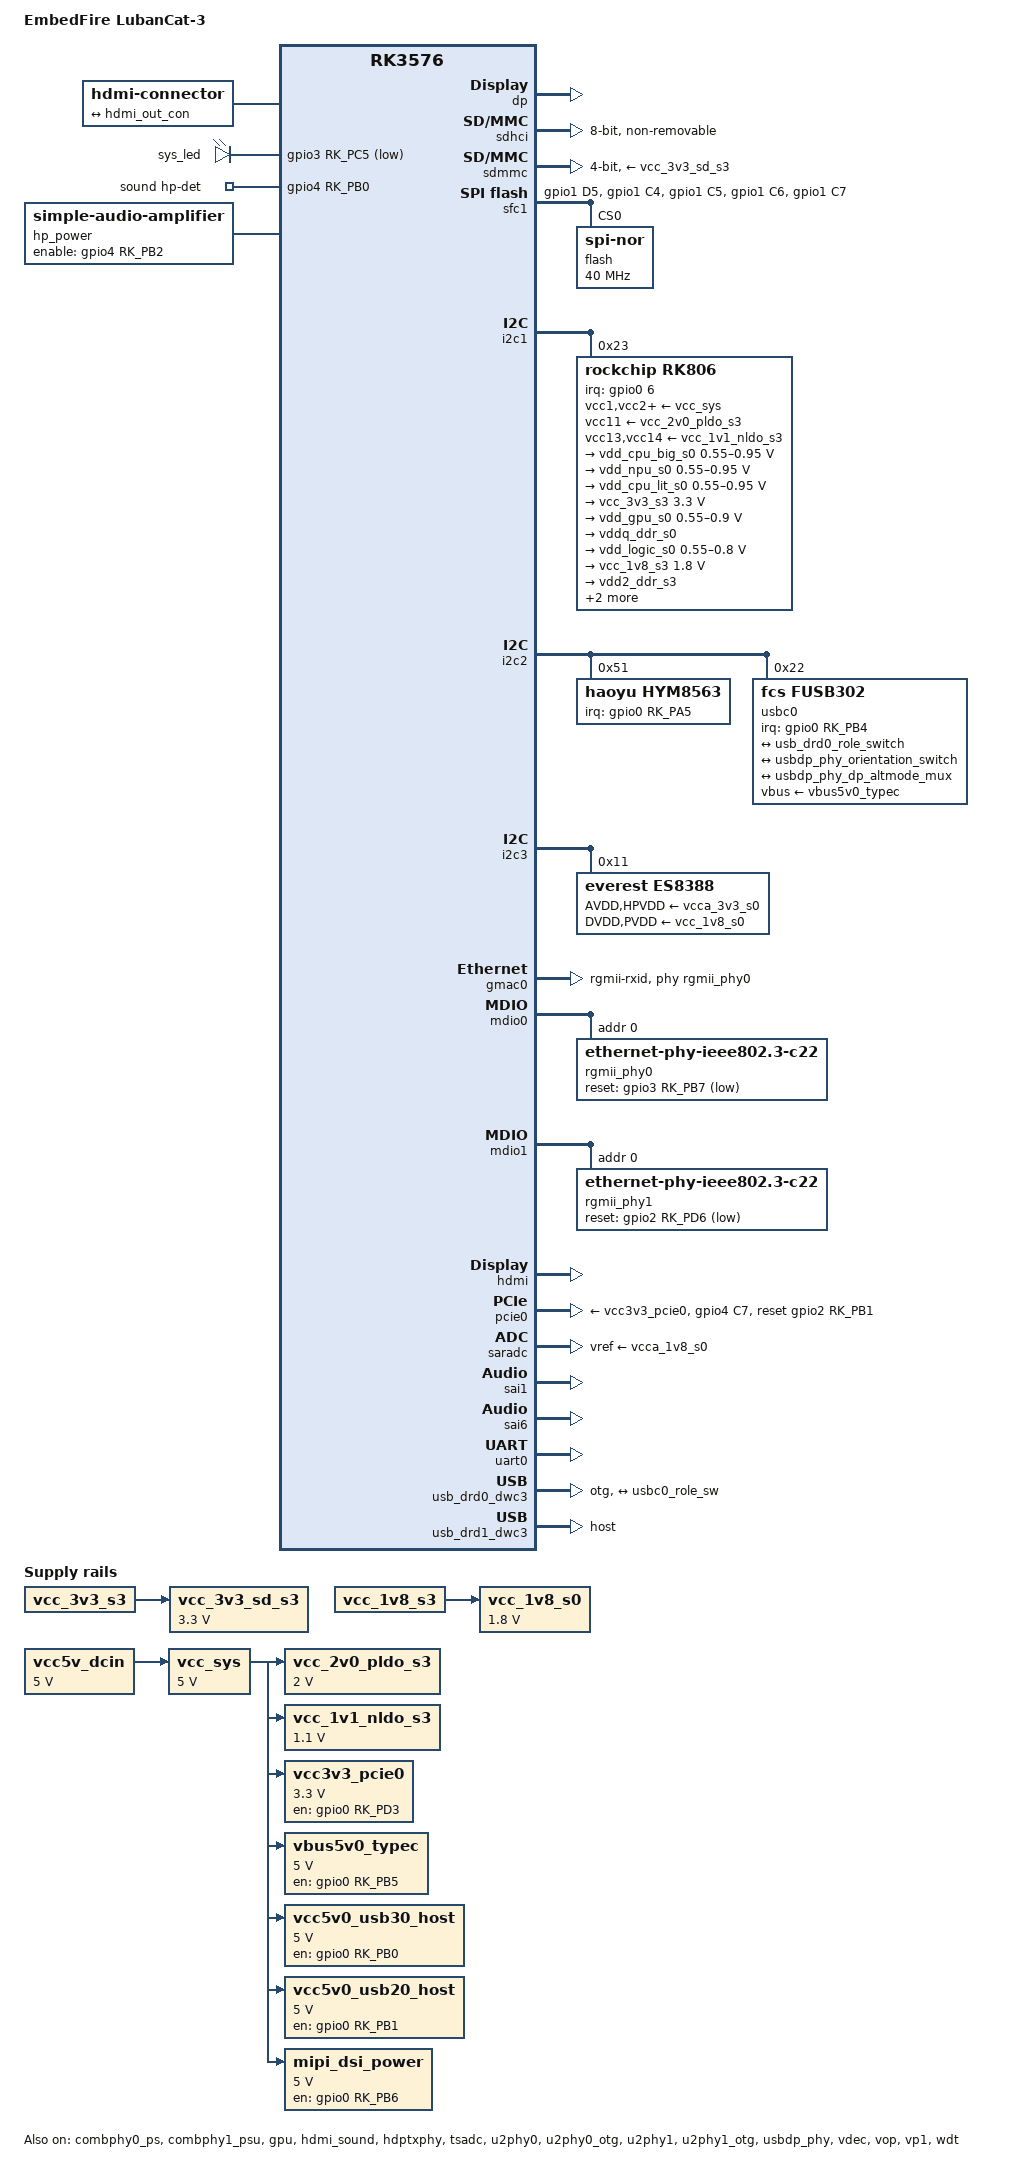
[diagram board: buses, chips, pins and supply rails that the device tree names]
// SPDX-License-Identifier: (GPL-2.0+ OR MIT)
/*
 * Copyright (c) 2024 Rockchip Electronics Co., Ltd.
 * Copyright (c) 2024 EmbedFire <embedfire@embedfire.com>
 */

/dts-v1/;

#include <dt-bindings/gpio/gpio.h>
#include <dt-bindings/input/input.h>
#include <dt-bindings/leds/common.h>
#include <dt-bindings/pinctrl/rockchip.h>
#include <dt-bindings/soc/rockchip,vop2.h>
#include <dt-bindings/usb/pd.h>
#include "rk3576.dtsi"

/ {
	model = "EmbedFire LubanCat-3";
	compatible = "embedfire,lubancat-3", "rockchip,rk3576";

	aliases {
		ethernet0 = &gmac0;
		ethernet1 = &gmac1;
	};

	chosen {
		stdout-path = "serial0:1500000n8";
	};

	/* HDMI connector */
	hdmi-con {
		compatible = "hdmi-connector";
		type = "a";

		port {
			hdmi_con_in: endpoint {
				remote-endpoint = <&hdmi_out_con>;
			};
		};
	};

	/* System status LED */
	leds {
		compatible = "gpio-leds";

		sys_led: led-0 {
			gpios = <&gpio3 RK_PC5 GPIO_ACTIVE_LOW>;
			linux,default-trigger = "heartbeat";
			pinctrl-names = "default";
			pinctrl-0 = <&sys_status_led_pin>;
		};
	};

	/*
	 * ES8388 audio codec sound card.
	 * Headphone detect: GPIO4_PB0 (active high)
	 * Headphone amplifier enable: GPIO4_PB2 (active high)
	 */
	sound {
		compatible = "simple-audio-card";
		pinctrl-names = "default";
		pinctrl-0 = <&hp_det>;
		simple-audio-card,name = "rockchip-es8388";
		simple-audio-card,aux-devs = <&hp_power>;
		simple-audio-card,bitclock-master = <&masterdai>;
		simple-audio-card,format = "i2s";
		simple-audio-card,frame-master = <&masterdai>;
		simple-audio-card,hp-det-gpios = <&gpio4 RK_PB0 GPIO_ACTIVE_HIGH>;
		simple-audio-card,mclk-fs = <256>;
		simple-audio-card,pin-switches = "Headphones", "Main Mic", "Headset Mic";
		simple-audio-card,routing =
			"Headphone Power INL", "LOUT1",
			"Headphone Power INR", "ROUT1",
			"Headphones", "Headphone Power OUTL",
			"Headphones", "Headphone Power OUTR",
			"LINPUT1", "Main Mic",
			"LINPUT2", "Main Mic",
			"RINPUT1", "Headset Mic",
			"RINPUT2", "Headset Mic";
		simple-audio-card,widgets =
			"Microphone", "Main Mic",
			"Microphone", "Headset Mic",
			"Headphone", "Headphones";

		simple-audio-card,cpu {
			sound-dai = <&sai1>;
		};

		masterdai: simple-audio-card,codec {
			sound-dai = <&es8388>;
			system-clock-frequency = <12288000>;
		};
	};

	/* Headphone amplifier */
	hp_power: headphone-amplifier {
		compatible = "simple-audio-amplifier";
		enable-gpios = <&gpio4 RK_PB2 GPIO_ACTIVE_HIGH>;
		pinctrl-names = "default";
		pinctrl-0 = <&hp_ctl>;
		sound-name-prefix = "Headphone Power";
	};

	/*
	 * PWM fan.
	 * Note: PWM controller nodes are not yet available in mainline
	 * rk3576.dtsi. This node will need the pwm2 controller to be added
	 * before it can be enabled.
	 */
	fan: pwm-fan {
		compatible = "pwm-fan";
		#cooling-cells = <2>;
		/* pwms = <&pwm2 6 50000 0>; -- pwm2 not yet in mainline rk3576.dtsi */
		cooling-levels = <0 100 150 200 255>;
		status = "disabled";
	};

	/*
	 * Extend mainline thermal zones with fan cooling maps.
	 * The fan is used as a cooling device for CPU and GPU thermal zones.
	 */
	thermal-zones {
		bigcore-thermal {
			cooling-maps {
				map1 {
					trip = <&bigcore_alert>;
					cooling-device = <&fan THERMAL_NO_LIMIT THERMAL_NO_LIMIT>;
				};
			};
		};

		littlecore-thermal {
			cooling-maps {
				map1 {
					trip = <&littlecore_alert>;
					cooling-device = <&fan THERMAL_NO_LIMIT THERMAL_NO_LIMIT>;
				};
			};
		};

		gpu-thermal {
			cooling-maps {
				map1 {
					trip = <&gpu_alert>;
					cooling-device = <&fan THERMAL_NO_LIMIT THERMAL_NO_LIMIT>;
				};
			};
		};
	};

	/* Fixed regulators */
	vcc5v_dcin: regulator-vcc5v-dcin {
		compatible = "regulator-fixed";
		regulator-name = "vcc5v_dcin";
		regulator-always-on;
		regulator-boot-on;
		regulator-min-microvolt = <5000000>;
		regulator-max-microvolt = <5000000>;
	};

	vcc_sys: regulator-vcc5v0-sys {
		compatible = "regulator-fixed";
		regulator-name = "vcc_sys";
		regulator-always-on;
		regulator-boot-on;
		regulator-min-microvolt = <5000000>;
		regulator-max-microvolt = <5000000>;
		vin-supply = <&vcc5v_dcin>;
	};

	vcc_2v0_pldo_s3: regulator-vcc-2v0-pldo-s3 {
		compatible = "regulator-fixed";
		regulator-name = "vcc_2v0_pldo_s3";
		regulator-boot-on;
		regulator-always-on;
		regulator-min-microvolt = <2000000>;
		regulator-max-microvolt = <2000000>;
		vin-supply = <&vcc_sys>;
	};

	vcc_1v1_nldo_s3: regulator-vcc-1v1-nldo-s3 {
		compatible = "regulator-fixed";
		regulator-name = "vcc_1v1_nldo_s3";
		regulator-boot-on;
		regulator-always-on;
		regulator-min-microvolt = <1100000>;
		regulator-max-microvolt = <1100000>;
		vin-supply = <&vcc_sys>;
	};

	vcc_3v3_sd_s3: regulator-vcc-3v3-sd-s3 {
		compatible = "regulator-fixed";
		regulator-name = "vcc_3v3_sd_s3";
		regulator-always-on;
		regulator-boot-on;
		regulator-min-microvolt = <3300000>;
		regulator-max-microvolt = <3300000>;
		vin-supply = <&vcc_3v3_s3>;
	};

	vcc_1v8_s0: regulator-vcc-1v8-s0 {
		compatible = "regulator-fixed";
		regulator-name = "vcc_1v8_s0";
		regulator-boot-on;
		regulator-always-on;
		regulator-min-microvolt = <1800000>;
		regulator-max-microvolt = <1800000>;
		vin-supply = <&vcc_1v8_s3>;
	};

	vcc3v3_pcie0: regulator-vcc3v3-pcie0 {
		compatible = "regulator-fixed";
		regulator-name = "vcc3v3_pcie0";
		regulator-min-microvolt = <3300000>;
		regulator-max-microvolt = <3300000>;
		enable-active-high;
		gpios = <&gpio0 RK_PD3 GPIO_ACTIVE_HIGH>;
		startup-delay-us = <5000>;
		vin-supply = <&vcc_sys>;
	};

	vbus5v0_typec: regulator-vbus5v0-typec {
		compatible = "regulator-fixed";
		regulator-name = "vbus5v0_typec";
		regulator-min-microvolt = <5000000>;
		regulator-max-microvolt = <5000000>;
		enable-active-high;
		gpio = <&gpio0 RK_PB5 GPIO_ACTIVE_HIGH>;
		vin-supply = <&vcc_sys>;
		pinctrl-names = "default";
		pinctrl-0 = <&typec_vbus_en>;
	};

	vcc5v0_usb30_host: regulator-vcc5v0-usb30-host {
		compatible = "regulator-fixed";
		regulator-name = "vcc5v0_usb30_host";
		regulator-min-microvolt = <5000000>;
		regulator-max-microvolt = <5000000>;
		regulator-always-on;
		regulator-boot-on;
		enable-active-high;
		gpio = <&gpio0 RK_PB0 GPIO_ACTIVE_HIGH>;
		vin-supply = <&vcc_sys>;
		pinctrl-names = "default";
		pinctrl-0 = <&usb30_host_pwr_en>;
	};

	vcc5v0_usb20_host: regulator-vcc5v0-usb20-host {
		compatible = "regulator-fixed";
		regulator-name = "vcc5v0_usb20_host";
		regulator-min-microvolt = <5000000>;
		regulator-max-microvolt = <5000000>;
		enable-active-high;
		gpio = <&gpio0 RK_PB1 GPIO_ACTIVE_HIGH>;
		vin-supply = <&vcc_sys>;
		pinctrl-names = "default";
		pinctrl-0 = <&usb20_host_pwr_en>;
	};

	mipi_dsi_power: regulator-mipi-dsi-power {
		compatible = "regulator-fixed";
		regulator-name = "mipi_dsi_power";
		regulator-min-microvolt = <5000000>;
		regulator-max-microvolt = <5000000>;
		regulator-always-on;
		regulator-boot-on;
		enable-active-high;
		gpio = <&gpio0 RK_PB6 GPIO_ACTIVE_HIGH>;
		vin-supply = <&vcc_sys>;
		pinctrl-names = "default";
		pinctrl-0 = <&lcd_pwr_en>;
	};
};

/* Cortex-A53 (little) CPU supply */
&cpu_l0 {
	cpu-supply = <&vdd_cpu_lit_s0>;
};

/* Cortex-A72 (big) CPU supply */
&cpu_b0 {
	cpu-supply = <&vdd_cpu_big_s0>;
};

/* PCIe0/SATA0 combo PHY */
&combphy0_ps {
	status = "okay";
};

/* PCIe1/SATA1/USB3_OTG1 combo PHY */
&combphy1_psu {
	status = "okay";
};

/*
 * DisplayPort over USB Type-C.
 * DP is routed from VP1.
 */
&dp {
	status = "okay";
};

&dp0_in {
	dp0_in_vp1: endpoint {
		remote-endpoint = <&vp1_out_dp0>;
	};
};

/*
 * BSP-only: dp0_sound uses custom "rockchip,hdmi" compatible which is not
 * available in mainline. DP audio is not yet supported.
 *
 * &spdif_tx3 { status = "okay"; };
 */

/* eMMC (SDHCI) */
&sdhci {
	bus-width = <8>;
	full-pwr-cycle-in-suspend;
	max-frequency = <200000000>;
	mmc-hs400-1_8v;
	mmc-hs400-enhanced-strobe;
	no-sdio;
	no-sd;
	non-removable;
	status = "okay";
};

/* SD card (SDMMC) */
&sdmmc {
	bus-width = <4>;
	cap-mmc-highspeed;
	cap-sd-highspeed;
	disable-wp;
	max-frequency = <200000000>;
	no-sdio;
	no-mmc;
	pinctrl-names = "default";
	pinctrl-0 = <&sdmmc0_clk &sdmmc0_cmd &sdmmc0_det &sdmmc0_bus4>;
	sd-uhs-sdr104;
	vmmc-supply = <&vcc_3v3_sd_s3>;
	vqmmc-supply = <&vccio_sd_s0>;
	status = "okay";
};

/* SPI NOR flash on FSPI1 */
&sfc1 {
	status = "okay";
	pinctrl-names = "default";
	pinctrl-0 = <&fspi1m1_correct_pins &fspi1m1_csn0>;

	flash@0 {
		compatible = "jedec,spi-nor";
		reg = <0>;
		spi-max-frequency = <40000000>;
		spi-rx-bus-width = <4>;
		spi-tx-bus-width = <1>;
	};
};

/*
 * I2C1: RK806 PMIC
 */
&i2c1 {
	status = "okay";

	rk806: pmic@23 {
		compatible = "rockchip,rk806";
		reg = <0x23>;
		interrupt-parent = <&gpio0>;
		interrupts = <6 IRQ_TYPE_LEVEL_LOW>;
		gpio-controller;
		#gpio-cells = <2>;
		pinctrl-names = "default";
		pinctrl-0 = <&pmic_pins>, <&rk806_dvs1_null>,
			    <&rk806_dvs2_null>, <&rk806_dvs3_null>;
		system-power-controller;

		vcc1-supply = <&vcc_sys>;
		vcc2-supply = <&vcc_sys>;
		vcc3-supply = <&vcc_sys>;
		vcc4-supply = <&vcc_sys>;
		vcc5-supply = <&vcc_sys>;
		vcc6-supply = <&vcc_sys>;
		vcc7-supply = <&vcc_sys>;
		vcc8-supply = <&vcc_sys>;
		vcc9-supply = <&vcc_sys>;
		vcc10-supply = <&vcc_sys>;
		vcc11-supply = <&vcc_2v0_pldo_s3>;
		vcc12-supply = <&vcc_sys>;
		vcc13-supply = <&vcc_1v1_nldo_s3>;
		vcc14-supply = <&vcc_1v1_nldo_s3>;
		vcca-supply = <&vcc_sys>;

		rk806_dvs1_null: dvs1-null-pins {
			pins = "gpio_pwrctrl1";
			function = "pin_fun0";
		};

		rk806_dvs2_null: dvs2-null-pins {
			pins = "gpio_pwrctrl2";
			function = "pin_fun0";
		};

		rk806_dvs3_null: dvs3-null-pins {
			pins = "gpio_pwrctrl3";
			function = "pin_fun0";
		};

		rk806_dvs1_slp: dvs1-slp-pins {
			pins = "gpio_pwrctrl1";
			function = "pin_fun1";
		};

		rk806_dvs1_pwrdn: dvs1-pwrdn-pins {
			pins = "gpio_pwrctrl1";
			function = "pin_fun2";
		};

		rk806_dvs1_rst: dvs1-rst-pins {
			pins = "gpio_pwrctrl1";
			function = "pin_fun3";
		};

		rk806_dvs2_slp: dvs2-slp-pins {
			pins = "gpio_pwrctrl2";
			function = "pin_fun1";
		};

		rk806_dvs2_pwrdn: dvs2-pwrdn-pins {
			pins = "gpio_pwrctrl2";
			function = "pin_fun2";
		};

		rk806_dvs2_rst: dvs2-rst-pins {
			pins = "gpio_pwrctrl2";
			function = "pin_fun3";
		};

		rk806_dvs2_dvs: dvs2-dvs-pins {
			pins = "gpio_pwrctrl2";
			function = "pin_fun4";
		};

		rk806_dvs2_gpio: dvs2-gpio-pins {
			pins = "gpio_pwrctrl2";
			function = "pin_fun5";
		};

		rk806_dvs3_slp: dvs3-slp-pins {
			pins = "gpio_pwrctrl3";
			function = "pin_fun1";
		};

		rk806_dvs3_pwrdn: dvs3-pwrdn-pins {
			pins = "gpio_pwrctrl3";
			function = "pin_fun2";
		};

		rk806_dvs3_rst: dvs3-rst-pins {
			pins = "gpio_pwrctrl3";
			function = "pin_fun3";
		};

		rk806_dvs3_dvs: dvs3-dvs-pins {
			pins = "gpio_pwrctrl3";
			function = "pin_fun4";
		};

		rk806_dvs3_gpio: dvs3-gpio-pins {
			pins = "gpio_pwrctrl3";
			function = "pin_fun5";
		};

		regulators {
			vdd_cpu_big_s0: dcdc-reg1 {
				regulator-always-on;
				regulator-boot-on;
				regulator-min-microvolt = <550000>;
				regulator-max-microvolt = <950000>;
				regulator-ramp-delay = <12500>;
				regulator-name = "vdd_cpu_big_s0";
				regulator-enable-ramp-delay = <400>;

				regulator-state-mem {
					regulator-off-in-suspend;
				};
			};

			vdd_npu_s0: dcdc-reg2 {
				regulator-boot-on;
				regulator-min-microvolt = <550000>;
				regulator-max-microvolt = <950000>;
				regulator-ramp-delay = <12500>;
				regulator-name = "vdd_npu_s0";
				regulator-enable-ramp-delay = <400>;

				regulator-state-mem {
					regulator-off-in-suspend;
				};
			};

			vdd_cpu_lit_s0: dcdc-reg3 {
				regulator-always-on;
				regulator-boot-on;
				regulator-min-microvolt = <550000>;
				regulator-max-microvolt = <950000>;
				regulator-ramp-delay = <12500>;
				regulator-name = "vdd_cpu_lit_s0";

				regulator-state-mem {
					regulator-off-in-suspend;
					regulator-suspend-microvolt = <750000>;
				};
			};

			vcc_3v3_s3: dcdc-reg4 {
				regulator-always-on;
				regulator-boot-on;
				regulator-min-microvolt = <3300000>;
				regulator-max-microvolt = <3300000>;
				regulator-name = "vcc_3v3_s3";

				regulator-state-mem {
					regulator-on-in-suspend;
					regulator-suspend-microvolt = <3300000>;
				};
			};

			vdd_gpu_s0: dcdc-reg5 {
				regulator-boot-on;
				regulator-min-microvolt = <550000>;
				regulator-max-microvolt = <900000>;
				regulator-ramp-delay = <12500>;
				regulator-name = "vdd_gpu_s0";
				regulator-enable-ramp-delay = <400>;

				regulator-state-mem {
					regulator-off-in-suspend;
					regulator-suspend-microvolt = <850000>;
				};
			};

			vddq_ddr_s0: dcdc-reg6 {
				regulator-always-on;
				regulator-boot-on;
				regulator-name = "vddq_ddr_s0";

				regulator-state-mem {
					regulator-off-in-suspend;
				};
			};

			vdd_logic_s0: dcdc-reg7 {
				regulator-always-on;
				regulator-boot-on;
				regulator-min-microvolt = <550000>;
				regulator-max-microvolt = <800000>;
				regulator-name = "vdd_logic_s0";

				regulator-state-mem {
					regulator-off-in-suspend;
				};
			};

			vcc_1v8_s3: dcdc-reg8 {
				regulator-always-on;
				regulator-boot-on;
				regulator-min-microvolt = <1800000>;
				regulator-max-microvolt = <1800000>;
				regulator-name = "vcc_1v8_s3";

				regulator-state-mem {
					regulator-on-in-suspend;
					regulator-suspend-microvolt = <1800000>;
				};
			};

			vdd2_ddr_s3: dcdc-reg9 {
				regulator-always-on;
				regulator-boot-on;
				regulator-name = "vdd2_ddr_s3";

				regulator-state-mem {
					regulator-on-in-suspend;
				};
			};

			vdd_ddr_s0: dcdc-reg10 {
				regulator-always-on;
				regulator-boot-on;
				regulator-min-microvolt = <550000>;
				regulator-max-microvolt = <1200000>;
				regulator-name = "vdd_ddr_s0";

				regulator-state-mem {
					regulator-off-in-suspend;
				};
			};

			vcca_1v8_s0: pldo-reg1 {
				regulator-always-on;
				regulator-boot-on;
				regulator-min-microvolt = <1800000>;
				regulator-max-microvolt = <1800000>;
				regulator-name = "vcca_1v8_s0";

				regulator-state-mem {
					regulator-off-in-suspend;
				};
			};

			vcca1v8_pldo2_s0: pldo-reg2 {
				regulator-always-on;
				regulator-boot-on;
				regulator-min-microvolt = <1800000>;
				regulator-max-microvolt = <1800000>;
				regulator-name = "vcca1v8_pldo2_s0";

				regulator-state-mem {
					regulator-off-in-suspend;
				};
			};

			vdda_1v2_s0: pldo-reg3 {
				regulator-always-on;
				regulator-boot-on;
				regulator-min-microvolt = <1200000>;
				regulator-max-microvolt = <1200000>;
				regulator-name = "vdda_1v2_s0";

				regulator-state-mem {
					regulator-off-in-suspend;
				};
			};

			vcca_3v3_s0: pldo-reg4 {
				regulator-always-on;
				regulator-boot-on;
				regulator-min-microvolt = <3300000>;
				regulator-max-microvolt = <3300000>;
				regulator-name = "vcca_3v3_s0";

				regulator-state-mem {
					regulator-off-in-suspend;
				};
			};

			vccio_sd_s0: pldo-reg5 {
				regulator-always-on;
				regulator-boot-on;
				regulator-min-microvolt = <1800000>;
				regulator-max-microvolt = <3300000>;
				regulator-name = "vccio_sd_s0";

				regulator-state-mem {
					regulator-off-in-suspend;
				};
			};

			vcca1v8_pldo6_s3: pldo-reg6 {
				regulator-always-on;
				regulator-boot-on;
				regulator-min-microvolt = <1800000>;
				regulator-max-microvolt = <1800000>;
				regulator-name = "vcca1v8_pldo6_s3";

				regulator-state-mem {
					regulator-on-in-suspend;
					regulator-suspend-microvolt = <1800000>;
				};
			};

			vdd_0v75_s3: nldo-reg1 {
				regulator-always-on;
				regulator-boot-on;
				regulator-min-microvolt = <550000>;
				regulator-max-microvolt = <750000>;
				regulator-name = "vdd_0v75_s3";

				regulator-state-mem {
					regulator-on-in-suspend;
					regulator-suspend-microvolt = <750000>;
				};
			};

			vdda_ddr_pll_s0: nldo-reg2 {
				regulator-always-on;
				regulator-boot-on;
				regulator-min-microvolt = <850000>;
				regulator-max-microvolt = <850000>;
				regulator-name = "vdda_ddr_pll_s0";

				regulator-state-mem {
					regulator-off-in-suspend;
				};
			};

			vdda0v75_hdmi_s0: nldo-reg3 {
				regulator-boot-on;
				regulator-min-microvolt = <837500>;
				regulator-max-microvolt = <837500>;
				regulator-name = "vdda0v75_hdmi_s0";

				regulator-state-mem {
					regulator-off-in-suspend;
				};
			};

			vdda_0v85_s0: nldo-reg4 {
				regulator-always-on;
				regulator-boot-on;
				regulator-min-microvolt = <850000>;
				regulator-max-microvolt = <850000>;
				regulator-name = "vdda_0v85_s0";

				regulator-state-mem {
					regulator-off-in-suspend;
				};
			};

			vdda_0v75_s0: nldo-reg5 {
				regulator-always-on;
				regulator-boot-on;
				regulator-min-microvolt = <750000>;
				regulator-max-microvolt = <750000>;
				regulator-name = "vdda_0v75_s0";

				regulator-state-mem {
					regulator-off-in-suspend;
				};
			};
		};
	};
};

/*
 * I2C2: RTC and USB Type-C controller
 */
&i2c2 {
	status = "okay";

	/* BM8563 RTC (using rtc-hym8563 driver) */
	hym8563: rtc@51 {
		compatible = "haoyu,hym8563";
		reg = <0x51>;
		#clock-cells = <0>;
		clock-output-names = "hym8563";
		interrupt-parent = <&gpio0>;
		interrupts = <RK_PA5 IRQ_TYPE_LEVEL_LOW>;
		pinctrl-names = "default";
		pinctrl-0 = <&hym8563_int>;
		wakeup-source;
	};

	/* FUSB302 USB Type-C controller */
	usbc0: typec@22 {
		compatible = "fcs,fusb302";
		reg = <0x22>;
		interrupt-parent = <&gpio0>;
		interrupts = <RK_PB4 IRQ_TYPE_LEVEL_LOW>;
		pinctrl-names = "default";
		pinctrl-0 = <&fusb302_int>;
		vbus-supply = <&vbus5v0_typec>;
		status = "okay";

		ports {
			#address-cells = <1>;
			#size-cells = <0>;

			port@0 {
				reg = <0>;
				usbc0_role_sw: endpoint {
					remote-endpoint = <&usb_drd0_role_switch>;
				};
			};
		};

		usb_con: connector {
			compatible = "usb-c-connector";
			label = "USB-C";
			data-role = "dual";
			power-role = "dual";
			try-power-role = "sink";
			op-sink-microwatt = <1000000>;
			sink-pdos =
				<PDO_FIXED(5000, 1000, PDO_FIXED_USB_COMM)>;
			source-pdos =
				<PDO_FIXED(5000, 3000, PDO_FIXED_USB_COMM)>;

			altmodes {
				#address-cells = <1>;
				#size-cells = <0>;

				altmode@0 {
					reg = <0>;
					svid = <0xff01>;
					vdo = <0xffffffff>;
				};
			};

			ports {
				#address-cells = <1>;
				#size-cells = <0>;

				port@0 {
					reg = <0>;
					usbc0_orien_sw: endpoint {
						remote-endpoint = <&usbdp_phy_orientation_switch>;
					};
				};

				port@1 {
					reg = <1>;
					dp_altmode_mux: endpoint {
						remote-endpoint = <&usbdp_phy_dp_altmode_mux>;
					};
				};
			};
		};
	};
};

/*
 * I2C3: ES8388 audio codec
 */
&i2c3 {
	status = "okay";

	es8388: audio-codec@11 {
		compatible = "everest,es8388", "everest,es8328";
		reg = <0x11>;
		AVDD-supply = <&vcca_3v3_s0>;
		DVDD-supply = <&vcc_1v8_s0>;
		HPVDD-supply = <&vcca_3v3_s0>;
		PVDD-supply = <&vcc_1v8_s0>;
		assigned-clocks = <&cru CLK_SAI1_MCLKOUT_TO_IO>;
		assigned-clock-rates = <12288000>;
		clocks = <&cru CLK_SAI1_MCLKOUT_TO_IO>;
		clock-names = "mclk";
		pinctrl-names = "default";
		pinctrl-0 = <&sai1m0_mclk>;
		#sound-dai-cells = <0>;
	};
};

/* Ethernet: GMAC0 (RTL8211F PHY at address 0x0) */
&gmac0 {
	clock_in_out = "output";
	phy-mode = "rgmii-rxid";
	phy-handle = <&rgmii_phy0>;
	pinctrl-names = "default";
	pinctrl-0 = <&eth0m0_miim
		     &eth0m0_tx_bus2
		     &eth0m0_rx_bus2
		     &eth0m0_rgmii_clk
		     &eth0m0_rgmii_bus
		     &eth0m0_mclk>;
	tx_delay = <0x05>;
	rx_delay = <0x05>;
	status = "okay";
};

/* Ethernet: GMAC1 (RTL8211F PHY at address 0x0) - disabled by default */
&gmac1 {
	clock_in_out = "output";
	phy-mode = "rgmii-rxid";
	phy-handle = <&rgmii_phy1>;
	pinctrl-names = "default";
	pinctrl-0 = <&eth1m0_miim
		     &eth1m0_tx_bus2
		     &eth1m0_rx_bus2
		     &eth1m0_rgmii_clk
		     &eth1m0_rgmii_bus
		     &eth1m0_mclk>;
	tx_delay = <0x20>;
	rx_delay = <0x01>;
	status = "disabled";
};

&mdio0 {
	rgmii_phy0: ethernet-phy@0 {
		compatible = "ethernet-phy-ieee802.3-c22";
		reg = <0x0>;
		clocks = <&cru REFCLKO25M_GMAC0_OUT>;
		reset-assert-us = <20000>;
		reset-deassert-us = <100000>;
		reset-gpios = <&gpio3 RK_PB7 GPIO_ACTIVE_LOW>;
	};
};

&mdio1 {
	rgmii_phy1: ethernet-phy@0 {
		compatible = "ethernet-phy-ieee802.3-c22";
		reg = <0x0>;
		clocks = <&cru REFCLKO25M_GMAC1_OUT>;
		reset-assert-us = <20000>;
		reset-deassert-us = <100000>;
		reset-gpios = <&gpio2 RK_PD6 GPIO_ACTIVE_LOW>;
	};
};

/* GPU */
&gpu {
	mali-supply = <&vdd_gpu_s0>;
	status = "okay";
};

/* HDMI */
&hdmi {
	enable-gpios = <&gpio4 RK_PC6 GPIO_ACTIVE_HIGH>;
	status = "okay";
};

&hdmi_in {
	hdmi_in_vp0: endpoint {
		remote-endpoint = <&vp0_out_hdmi>;
	};
};

&hdmi_out {
	hdmi_out_con: endpoint {
		remote-endpoint = <&hdmi_con_in>;
	};
};

/* HDMI audio (defined in rk3576.dtsi as simple-audio-card) */
&hdmi_sound {
	status = "okay";
};

/* HDMI TX PHY */
&hdptxphy {
	status = "okay";
};

/* PCIe0 */
&pcie0 {
	pinctrl-names = "default";
	pinctrl-0 = <&pcie_disable_gpio>;
	reset-gpios = <&gpio2 RK_PB1 GPIO_ACTIVE_HIGH>;
	disable-gpios = <&gpio4 RK_PC7 GPIO_ACTIVE_HIGH>;
	vpcie3v3-supply = <&vcc3v3_pcie0>;
	status = "okay";
};

/* SATA0 - shares combo PHY0 with PCIe0; disabled when PCIe0 is active */
&sata0 {
	status = "disabled";
};

/* SARADC */
&saradc {
	vref-supply = <&vcca_1v8_s0>;
	status = "okay";
};

/* SAI1: I2S for ES8388 audio codec */
&sai1 {
	pinctrl-names = "default";
	pinctrl-0 = <&sai1m0_lrck
		     &sai1m0_sclk
		     &sai1m0_sdi0
		     &sai1m0_sdo2>;
	status = "okay";
};

/* SAI6: I2S for HDMI audio */
&sai6 {
	status = "okay";
};

/* TSADC (thermal sensor) */
&tsadc {
	status = "okay";
};

/* Debug console UART */
&uart0 {
	status = "okay";
};

/* USB2 PHY0 (OTG) */
&u2phy0 {
	status = "okay";
};

&u2phy0_otg {
	phy-supply = <&vbus5v0_typec>;
	status = "okay";
};

/* USB2 PHY1 (host) */
&u2phy1 {
	status = "okay";
};

&u2phy1_otg {
	phy-supply = <&vcc5v0_usb20_host>;
	status = "okay";
};

/* USB3 OTG0 / DP1.4 Alt-Mode via Type-C */
&usbdp_phy {
	orientation-switch;
	status = "okay";

	port {
		#address-cells = <1>;
		#size-cells = <0>;

		usbdp_phy_orientation_switch: endpoint@0 {
			reg = <0>;
			remote-endpoint = <&usbc0_orien_sw>;
		};

		usbdp_phy_dp_altmode_mux: endpoint@1 {
			reg = <1>;
			remote-endpoint = <&dp_altmode_mux>;
		};
	};
};

/* USB3 DRD0 (OTG via Type-C) */
&usb_drd0_dwc3 {
	dr_mode = "otg";
	usb-role-switch;
	status = "okay";
	snps,parkmode-disable-hs-quirk;
	snps,parkmode-disable-ss-quirk;
	snps,dis_u3_susphy_quirk;
	snps,dis_u2_susphy_quirk;

	port {
		usb_drd0_role_switch: endpoint {
			remote-endpoint = <&usbc0_role_sw>;
		};
	};
};

/* USB3 DRD1 (host) */
&usb_drd1_dwc3 {
	dr_mode = "host";
	status = "okay";
	snps,parkmode-disable-hs-quirk;
	snps,parkmode-disable-ss-quirk;
	snps,dis_u3_susphy_quirk;
	snps,dis_u2_susphy_quirk;
};

/* Video decoder (rkvdec) */
&vdec {
	status = "okay";
};

&vdec_mmu {
	status = "okay";
};

/* VOP2 (display controller) */
&vop {
	status = "okay";
};

&vop_mmu {
	status = "okay";
};

/* VP0: HDMI output */
&vp0 {
	vp0_out_hdmi: endpoint@ROCKCHIP_VOP2_EP_HDMI0 {
		reg = <ROCKCHIP_VOP2_EP_HDMI0>;
		remote-endpoint = <&hdmi_in_vp0>;
	};
};

/* VP1: DisplayPort output */
&vp1 {
	status = "okay";

	vp1_out_dp0: endpoint@a {
		reg = <ROCKCHIP_VOP2_EP_DP0>;
		remote-endpoint = <&dp0_in_vp1>;
	};
};

/* Watchdog */
&wdt {
	status = "okay";
};

&pinctrl {
	leds {
		sys_status_led_pin: sys-status-led-pin {
			rockchip,pins = <3 RK_PC5 RK_FUNC_GPIO &pcfg_pull_none>;
		};
	};

	audio {
		hp_det: hp-det {
			rockchip,pins = <4 RK_PB0 RK_FUNC_GPIO &pcfg_pull_up>;
		};

		hp_ctl: hp-ctl {
			rockchip,pins = <4 RK_PB2 RK_FUNC_GPIO &pcfg_pull_none>;
		};
	};

	hym8563 {
		hym8563_int: hym8563-int {
			rockchip,pins = <0 RK_PA5 RK_FUNC_GPIO &pcfg_pull_up>;
		};
	};

	usb-typec {
		fusb302_int: fusb302-int {
			rockchip,pins = <0 RK_PB4 RK_FUNC_GPIO &pcfg_pull_up>;
		};

		typec_vbus_en: typec-vbus-en {
			rockchip,pins = <0 RK_PB5 RK_FUNC_GPIO &pcfg_pull_none>;
		};
	};

	usb-host {
		usb30_host_pwr_en: usb30-host-pwr-en {
			rockchip,pins = <0 RK_PB0 RK_FUNC_GPIO &pcfg_pull_none>;
		};

		usb20_host_pwr_en: usb20-host-pwr-en {
			rockchip,pins = <0 RK_PB1 RK_FUNC_GPIO &pcfg_pull_none>;
		};
	};

	mipi-dsi {
		lcd_pwr_en: lcd-pwr-en {
			rockchip,pins = <0 RK_PB6 RK_FUNC_GPIO &pcfg_pull_none>;
		};
	};

	pcie {
		pcie_disable_gpio: pcie-disable-gpio {
			rockchip,pins = <4 RK_PC7 RK_FUNC_GPIO &pcfg_pull_up>;
		};
	};

	/* Custom FSPI1 pin mux (not in rk3576-pinctrl.dtsi) */
	fspi1m1_correct {
		fspi1m1_correct_pins: fspi1m1-correct-pins {
			rockchip,pins =
				/* fspi1_clk_m1 */
				<1 RK_PD5 3 &pcfg_pull_none>,
				/* fspi1_d0_m1 */
				<1 RK_PC4 3 &pcfg_pull_none>,
				/* fspi1_d1_m1 */
				<1 RK_PC5 3 &pcfg_pull_none>,
				/* fspi1_d2_m1 */
				<1 RK_PC6 3 &pcfg_pull_none>,
				/* fspi1_d3_m1 */
				<1 RK_PC7 3 &pcfg_pull_none>;
		};
	};
};
